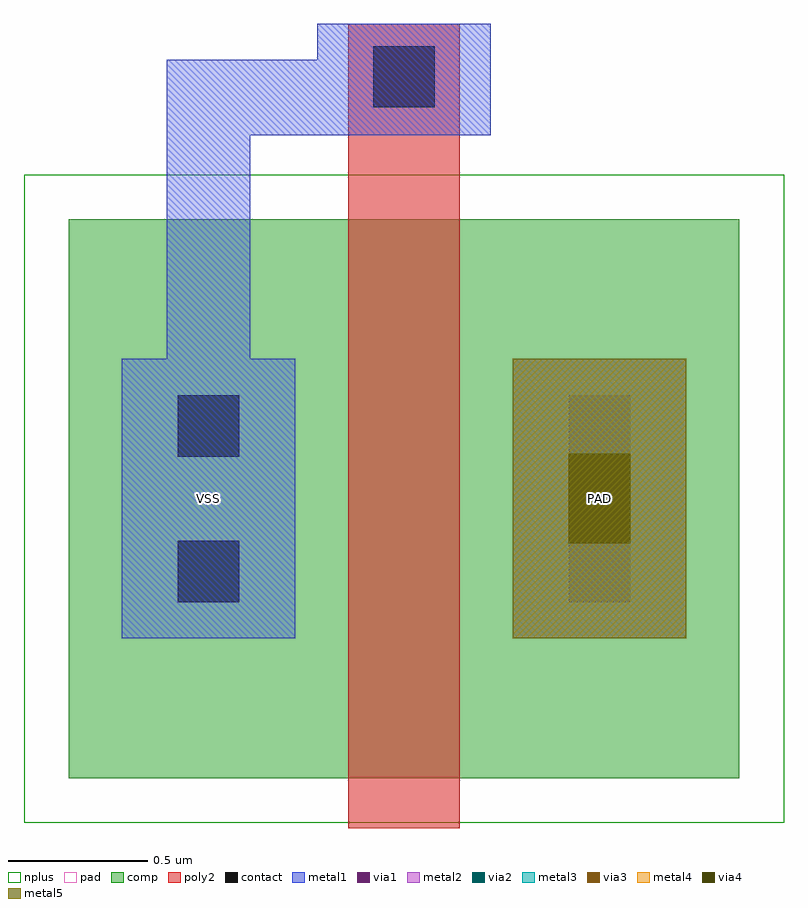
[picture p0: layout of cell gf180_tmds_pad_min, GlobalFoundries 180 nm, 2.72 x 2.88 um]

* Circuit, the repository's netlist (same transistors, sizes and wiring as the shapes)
* extracted by klt extract --deck gf180mcu

* cell gf180_tmds_pad_min
* pin PAD
* pin VSS
* pin vsubs
.SUBCKT gf180_tmds_pad_min PAD VSS vsubs
* device instance $1 r0 *1 1.2,1 nfet
M$1 PAD VSS VSS vsubs nfet L=0.4U W=2U AS=2P AD=2P PS=6U PD=6U
.ENDS gf180_tmds_pad_min

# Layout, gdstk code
import gdstk
lib = gdstk.Library(unit=1e-6, precision=1e-09)
def R(c, l, rs):  # rectangles x0, y0, x1, y1
    for r in rs: c.add(gdstk.rectangle(r[:2], r[2:], *l))
comp = (22, 0)
poly2 = (30, 0)
nplus = (32, 0)
contact = (33, 0)
metal1 = (34, 0)
via1 = (35, 0)
metal2 = (36, 0)
pad = (37, 0)
via2 = (38, 0)
via3 = (40, 0)
via4 = (41, 0)
metal3 = (42, 0)
metal4 = (46, 0)
metal5 = (81, 0)

gf180_tmds_pad_min = lib.new_cell('gf180_tmds_pad_min')
R(gf180_tmds_pad_min, comp, [(0,0,2.4,2)])
R(gf180_tmds_pad_min, poly2, [(1,-0.18,1.4,2.7)])
R(gf180_tmds_pad_min, nplus, [(-0.16,-0.16,2.56,2.16)])
R(gf180_tmds_pad_min, contact, [(0.39,0.63,0.61,0.85), (1.79,0.63,2.01,0.85), (0.39,1.15,0.61,1.37), (1.79,1.15,2.01,1.37), (1.09,2.4,1.31,2.62)])
R(gf180_tmds_pad_min, metal1, [(0.19,0.5,0.81,1.5), (1.59,0.5,2.21,1.5), (0.35,1.4,0.65,2.4), (0.35,2.3,1.51,2.57), (0.89,2.32,1.51,2.7)])
R(gf180_tmds_pad_min, via1, [(1.79,0.84,2.01,1.16)])
R(gf180_tmds_pad_min, metal2, [(1.59,0.5,2.21,1.5)])
R(gf180_tmds_pad_min, pad, [(1.67,0.58,2.13,1.42)])
R(gf180_tmds_pad_min, via2, [(1.79,0.84,2.01,1.16)])
R(gf180_tmds_pad_min, via3, [(1.79,0.84,2.01,1.16)])
R(gf180_tmds_pad_min, via4, [(1.79,0.84,2.01,1.16)])
R(gf180_tmds_pad_min, metal3, [(1.59,0.5,2.21,1.5)])
R(gf180_tmds_pad_min, metal4, [(1.59,0.5,2.21,1.5)])
R(gf180_tmds_pad_min, metal5, [(1.59,0.5,2.21,1.5)])
gf180_tmds_pad_min.add(gdstk.Label('VSS', (0.5,1), layer=34, texttype=10))
gf180_tmds_pad_min.add(gdstk.Label('PAD', (1.9,1), layer=81, texttype=10))

lib.write_gds('gf180_tmds_pad_min.gds')
